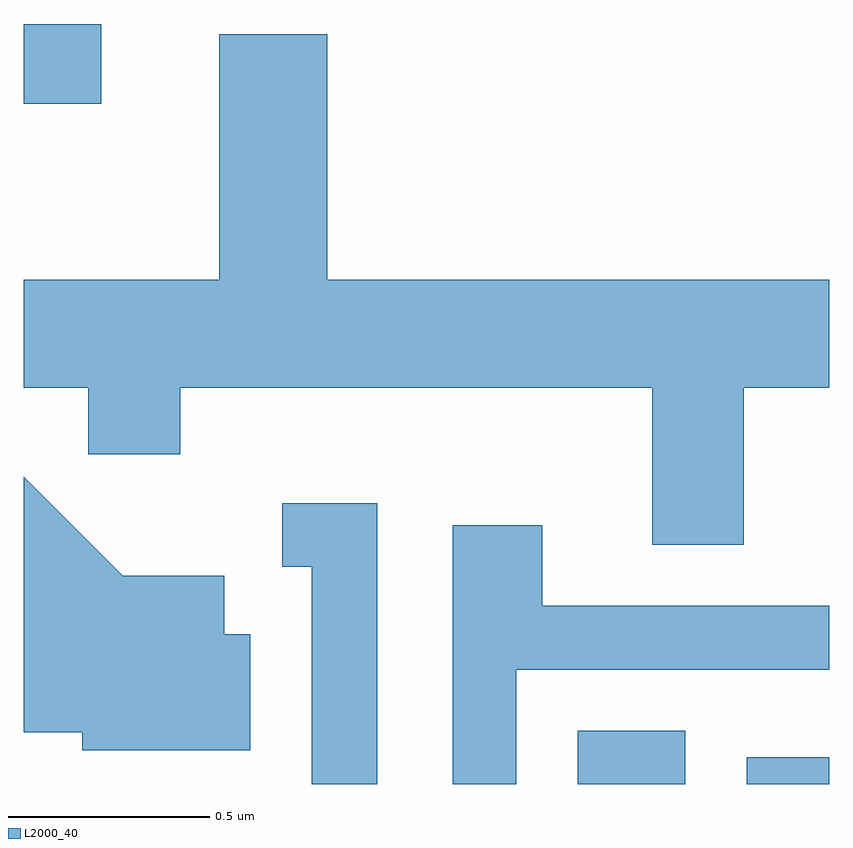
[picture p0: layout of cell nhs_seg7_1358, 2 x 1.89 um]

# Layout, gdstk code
import gdstk
lib = gdstk.Library(unit=1e-6, precision=1e-09)
def R(c, l, rs):  # rectangles x0, y0, x1, y1
    for r in rs: c.add(gdstk.rectangle(r[:2], r[2:], *l))
def P(c, l, *ps):  # polygons
    for p in ps: c.add(gdstk.Polygon(p, *l))
L2000_40 = (2000, 40)

nhs_seg7_1358 = lib.new_cell('nhs_seg7_1358')
R(nhs_seg7_1358, L2000_40, [(195.986,1793.252,196.254,1793.384), (196.406,1793.252,196.611,1793.319), (194.611,1794.941,194.804,1795.139)])
P(nhs_seg7_1358, L2000_40, [(196.399,1794.236),(196.611,1794.236),(196.611,1794.504),(195.364,1794.504),(195.364,1795.114),(195.096,1795.114),(195.096,1794.504),(194.611,1794.504),(194.611,1794.236),(194.771,1794.236),(194.771,1794.071),(194.999,1794.071),(194.999,1794.236),(196.171,1794.236),(196.171,1793.846),(196.399,1793.846)],
  [(195.174,1793.624),(195.109,1793.624),(195.109,1793.769),(194.857,1793.769),(194.611,1794.015),(194.611,1793.381),(194.756,1793.381),(194.756,1793.336),(195.174,1793.336)],
  [(195.489,1793.949),(195.253,1793.949),(195.253,1793.791),(195.326,1793.791),(195.326,1793.252),(195.489,1793.252)],
  [(195.834,1793.536),(196.611,1793.536),(196.611,1793.694),(195.899,1793.694),(195.899,1793.894),(195.676,1793.894),(195.676,1793.252),(195.834,1793.252)])

lib.write_gds('nhs_seg7_1358.gds')
